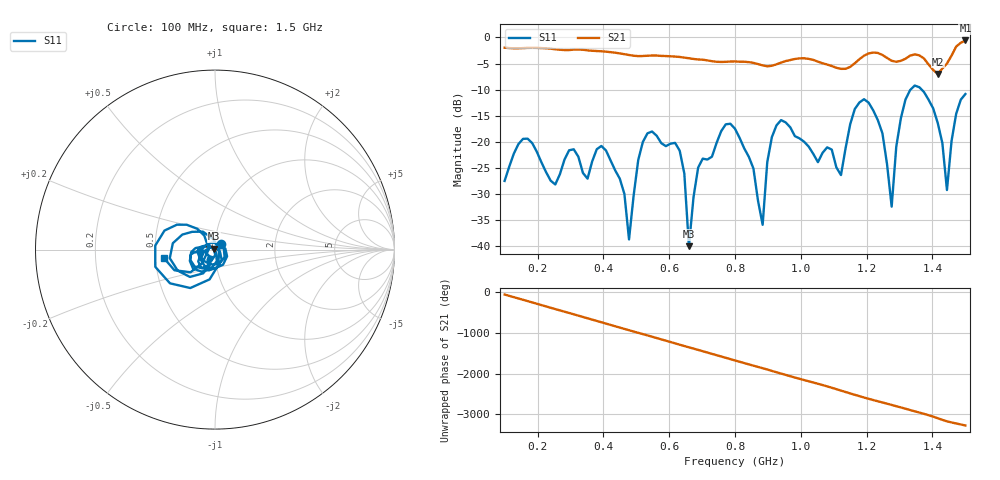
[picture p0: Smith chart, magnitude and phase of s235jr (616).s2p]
! NanoVNA-App
! Date: 2025-09-25 15:08:58
! Start: 100MHz Stop: 1,5GHz Points: 101
! S-Parameter data: F S11 S21 S12 S22
# Hz S RI R 50
!  Frequency  S11_Real  S11_Imag  S21_Real  S21_Imag  S12_Real  S12_Imag  S22_Real  S22_Imag
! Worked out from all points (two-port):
!   101 points, 100 MHz to 1.5 GHz, reference 50 ohm
!   highest |S21| = -0.58 dB at 1.5 GHz (marker M1); lowest = -7.0 dB at 1.416 GHz (marker M2)
!   |S21| within 3 dB of the highest: start of sweep to 594.3 MHz; 1.19 GHz to 1.253 GHz (63.12 MHz wide, 5.17 % of centre) (the widest 2 of 4)
!   lowest |S11| = -40.0 dB at 660 MHz (marker M3), VSWR 1.02, Z = 49.2 + j0.585 ohm
!   |S11| at or under -10 dB: start of sweep to 1.333 GHz; 1.367 GHz to end of sweep
!   S12 and S22 are empty: the file has one direction only
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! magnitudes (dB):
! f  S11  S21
! 100 MHz  -27.5  -2.0
! 156 MHz  -19.4  -2.0
! 338 MHz  -25.9  -2.4
! 408 MHz  -21.6  -2.7
! 478 MHz  -38.7  -3.4
! 520 MHz  -20.0  -3.6
! 576 MHz  -20.2  -3.5
! 632 MHz  -21.7  -3.7
! 660 MHz  -40.0  -4.0
! 688 MHz  -24.9  -4.2
! 800 MHz  -17.5  -4.6
! 884 MHz  -35.9  -5.4
! 926 MHz  -16.8  -5.1
! 1.038 GHz  -22.3  -4.3
! 1.122 GHz  -26.3  -6.0
! 1.192 GHz  -11.8  -3.5
! 1.248 GHz  -18.4  -3.4
! 1.276 GHz  -32.4  -4.5
! 1.332 GHz  -10.1  -3.5
! 1.416 GHz  -16.4  -7.0
! 1.444 GHz  -29.2  -5.0
! 1.5 GHz  -10.8  -0.6
